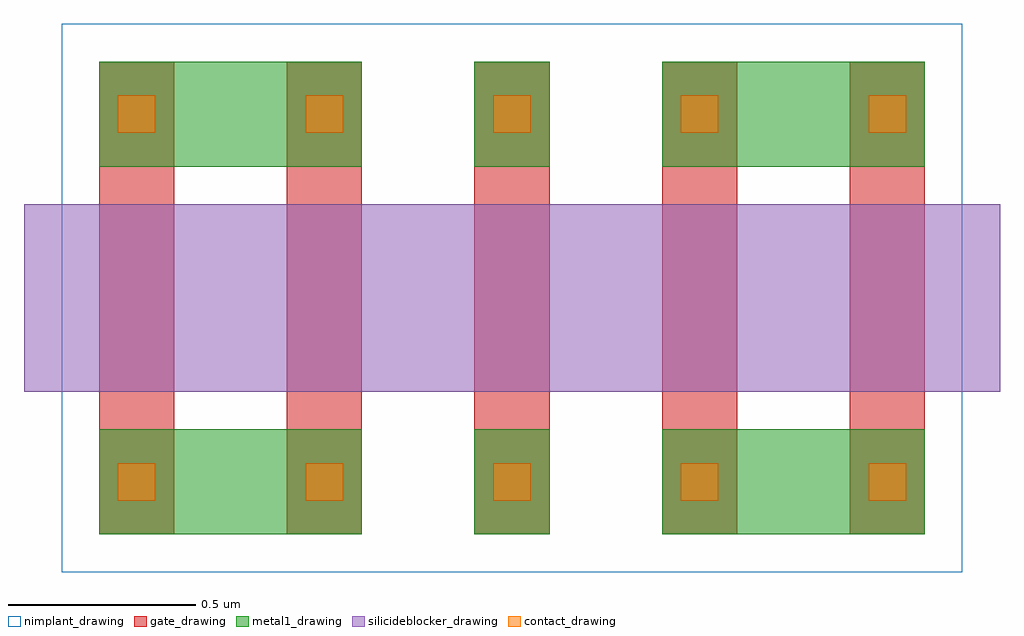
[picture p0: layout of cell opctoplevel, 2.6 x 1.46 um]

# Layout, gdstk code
import gdstk
lib = gdstk.Library(unit=1e-6, precision=1e-09)
def R(c, l, rs):  # rectangles x0, y0, x1, y1
    for r in rs: c.add(gdstk.rectangle(r[:2], r[2:], *l))
def A(c, l, x, y, w, h, nx, ny, dx, dy):  # array of equal rectangles
    R(c, l, [(x+i*dx, y+j*dy, x+i*dx+w, y+j*dy+h) for i in range(nx) for j in range(ny)])
nimplant_drawing = (5, 0)
gate_drawing = (6, 0)
contact_drawing = (7, 0)
metal1_drawing = (8, 0)
silicideblocker_drawing = (28, 0)

opctoplevel = lib.new_cell('opctoplevel')
R(opctoplevel, nimplant_drawing, [(-0.1,-0.1,2.3,1.36)])
A(opctoplevel, gate_drawing, 0, 0, 0.2, 1.26, 5, 1, 0.5, 0)
A(opctoplevel, gate_drawing, 0, 0, 0.2, 0.28, 5, 2, 0.5, 0.98)
A(opctoplevel, contact_drawing, 0.05, 0.09, 0.1, 0.1, 5, 2, 0.5, 0.98)
A(opctoplevel, metal1_drawing, 0, 0, 0.2, 0.28, 3, 2, 0.5, 0.98)
A(opctoplevel, metal1_drawing, 1, 0, 0.2, 0.28, 3, 2, 0.5, 0.98)
R(opctoplevel, metal1_drawing, [(0,0,0.7,0.28), (1.5,0,2.2,0.28), (0,0.98,0.7,1.26), (1.5,0.98,2.2,1.26)])
R(opctoplevel, silicideblocker_drawing, [(-0.2,0.38,2.4,0.88)])

lib.write_gds('opctoplevel.gds')
